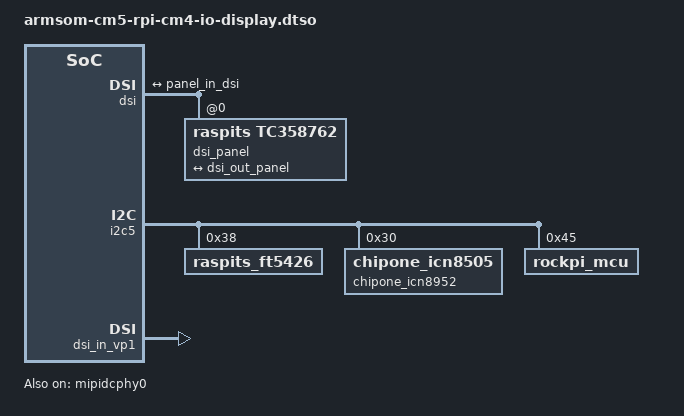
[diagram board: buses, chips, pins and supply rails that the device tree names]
/dts-v1/;
/plugin/;

#include <dt-bindings/interrupt-controller/irq.h>
#include <dt-bindings/gpio/gpio.h>
#include <dt-bindings/pinctrl/rockchip.h>
#include <dt-bindings/display/drm_mipi_dsi.h>

/ {
    fragment@0 {
		target = <&dsi>;

		__overlay__ {
			status = "okay";
            #address-cells = <1>;
            #size-cells = <0>;
            rockchip,lane-rate = <605>;	
            dsi_panel: dsi-panel@0 {
                compatible = "raspits,tc358762";
                reg = <0x0>;
                status = "okay";

                ports {
                    #address-cells = <1>;
                    #size-cells = <0>;

                    port@0 {
                        reg = <0>;
                        panel_in_dsi: endpoint {
                            remote-endpoint = <&dsi_out_panel>;
                        };
                    };
                };
            };
            ports {
                #address-cells = <1>;
                #size-cells = <0>;

                port@1 {
                    reg = <1>;
                    dsi_out_panel: endpoint {
                        remote-endpoint = <&panel_in_dsi>;
                    };
                };
            };

		};
	};

    fragment@1 {
		target = <&i2c5>;

		__overlay__ {
			status = "okay";
            pinctrl-0 = <&i2c5m3_xfer>;
            #address-cells = <1>;
            #size-cells = <0>;

			raspits_ft5426: raspits_ft5426@38 {
                compatible = "raspits_ft5426";
                reg = <0x38>;
            };

            chipone_icn8952: chipone_icn8952@30 {
                compatible = "chipone_icn8505";
                reg = <0x30>;
            };

            rockpi_mcu: rockpi-mcu@45 {
                compatible = "rockpi_mcu";
                reg = <0x45>;
            };
		
		};
	};

    fragment@2 {
		target = <&mipidcphy0>;

		__overlay__ {
			status = "okay";
		};
	};

    fragment@3 {
		target = <&route_dsi>;

		__overlay__ {
			status = "disabled";
		};
	};

    fragment@4 {
		target = <&dsi_in_vp1>;

		__overlay__ {
			status = "okay";
		};
	};
};
